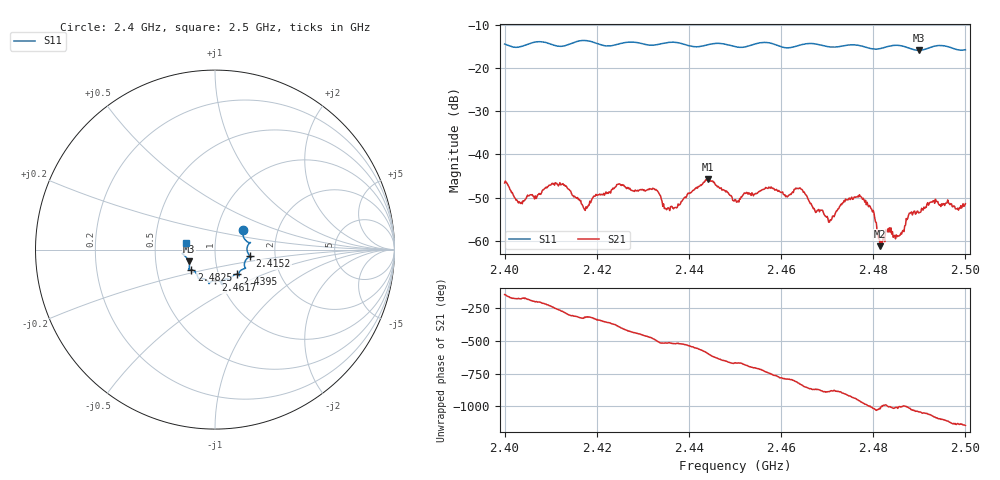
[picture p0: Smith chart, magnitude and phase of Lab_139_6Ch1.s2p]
# Hz S RI R
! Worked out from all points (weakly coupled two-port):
!   601 points, 2.4 GHz to 2.5 GHz, reference 50 ohm
!   highest |S21| = -45.67 dB at 2.4442 GHz (marker M1); lowest = -61.3 dB at 2.4815 GHz (marker M2)
!   lowest |S11| = -15.9 dB at 2.4898 GHz (marker M3), VSWR 1.38, Z = 36.9 - j4.92 ohm
!   |S11| at or under -10 dB: start of sweep to end of sweep
!   S12 and S22 are empty: the file has one direction only
!   S11 on the Smith chart (normalised r, x): 2.4 GHz: 1.33, +0.30; 2.4152 GHz: 1.48, -0.11; 2.4395 GHz: 1.23, -0.35; 2.4617 GHz: 0.95, -0.33; 2.4825 GHz: 0.75, -0.17; 2.5 GHz: 0.72, +0.05
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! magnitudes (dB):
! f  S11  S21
! 2.4 GHz  -14.4  -46.6
! 2.4033 GHz  -15.1  -51.2
! 2.4108 GHz  -14.8  -47.1
! 2.4152 GHz  -14.0  -49.7
! 2.4167 GHz  -13.6  -51.4
! 2.4248 GHz  -14.4  -46.8
! 2.4333 GHz  -14.5  -48.7
! 2.4353 GHz  -14.1  -52.5
! 2.4395 GHz  -14.7  -49.7
! 2.4442 GHz  -14.6  -45.7
! 2.45 GHz  -15.0  -50.5
! 2.4617 GHz  -15.3  -49.5
! 2.4642 GHz  -14.7  -47.8
! 2.4667 GHz  -14.3  -51.8
! 2.4707 GHz  -15.1  -55.1
! 2.4775 GHz  -14.9  -50.0
! 2.4815 GHz  -15.5  -61.3
! 2.4825 GHz  -15.2  -60.2
! 2.4833 GHz  -15.0  -58.0
! 2.4853 GHz  -14.7  -58.9
! 2.4898 GHz  -15.9  -53.5
! 2.5 GHz  -15.8  -51.4
